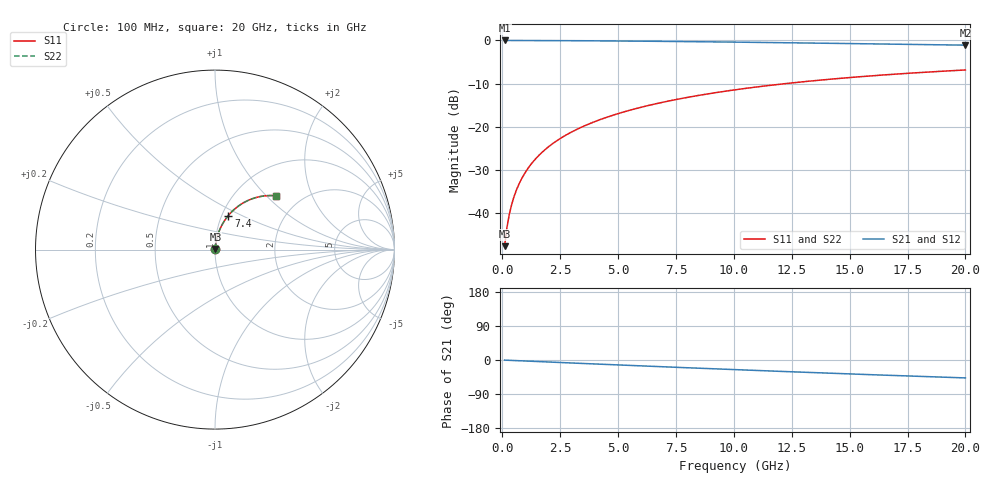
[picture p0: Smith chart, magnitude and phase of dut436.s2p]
! Touchstone file exported from HFSS 2026.1.0
!  File:  C:/ffzhzh/LocalFiles/Ansys_Project_Files/temp_train_TMRDL_436_1783005549_46388.aedt
!  Generated:  11:20:46 PM Jul  2, 2026
!  Design:  TMRDL
!  Project:  temp_train_TMRDL_436_1783005549_46388
! Variables:
!  h_bsmrdl = 2um
!  h_ox = 20um
!  h_rdl = 5um
!  h_sub = 80um
!  h_tmrdl = 5.28um
!  h_tsv = 80um
!  h_via = 3um
!  l_bsmrdl = 300um
!  l_sub = 1091.49um
!  l_tmrdl = 691.49um
!  m_sub = 200um
!  pitch = 50.07um
!  r_tsv = 6um
!  s_tmrdl = 10um
!  w_bsmrdl = 18um
!  w_sub = 500um
!  w_tmrdl = 17.92um
!  x_tsv_center1 = 700.45um
!  x_tsv_center2 = 1018.45um
!  x_tsv_center3 = 1727.86um
!  x_tsv_center4 = 2045.86um
!  x_tsv_center5 = 2755.27um
!  x_tsv_center6 = 3073.27um
# GHz S MA R 50.000000
! Terminal data exported
! Port[1] = TM_RDL1_1_T1
! Port[2] = TM_RDL1_1_T2
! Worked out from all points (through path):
!   200 points, 100 MHz to 20 GHz, reference 50 ohm
!   highest |S21| = -0.02 dB at 100 MHz (marker M1); lowest = -1.1 dB at 20 GHz (marker M2)
!   group delay of S21, straight-line fit = 6.57 ps
!   lowest |S11| = -47.7 dB at 100 MHz (marker M3), VSWR 1.01, Z = 50.3 + j0.311 ohm
!   |S11| at or under -10 dB: start of sweep to 12.27 GHz
!   |S22| runs from -47.7 to -6.9 dB; largest |S21 - S12| = 1.5e-14
!   S11 on the Smith chart (normalised r, x): 100 MHz: 1.01, +0.01; 7.4 GHz: 1.07, +0.42; 20 GHz: 1.51, +1.14
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0.1  0.004121 48.7  0.9973 -0.3  0.9973 -0.3  0.004121 48.7
! Gamma 0 0 0 0
! Port Impedance 50 0 50 0
0.2  0.006758 64.7  0.9972 -0.5  0.9972 -0.5  0.006758 64.7
0.3  0.00956 71.2  0.997 -0.8  0.997 -0.8  0.00956 71.2
0.4  0.0124 74.7  0.9969 -1.1  0.9969 -1.1  0.0124 74.7
0.5  0.01526 76.9  0.9968 -1.3  0.9968 -1.3  0.01526 76.9
0.7  0.02101 79.3  0.9966 -1.9  0.9966 -1.9  0.02101 79.3
0.8  0.0239 80.0  0.9965 -2.1  0.9965 -2.1  0.0239 80.0
1  0.02969 80.8  0.9962 -2.7  0.9962 -2.7  0.02969 80.8
1.2  0.03548 81.2  0.9959 -3.2  0.9959 -3.2  0.03548 81.2
1.4  0.04127 81.2  0.9956 -3.7  0.9956 -3.7  0.04127 81.2
1.7  0.04993 81.1  0.995 -4.5  0.995 -4.5  0.04993 81.1
2  0.05855 80.7  0.9943 -5.3  0.9943 -5.3  0.05855 80.7
2.7  0.07846 79.5  0.9923 -7.1  0.9923 -7.1  0.07846 79.5
3.5  0.1008 77.7  0.9896 -9.2  0.9896 -9.2  0.1008 77.7
4.2  0.12 76.1  0.9868 -11.0  0.9868 -11.0  0.12 76.1
5  0.1416 74.3  0.9833 -13.0  0.9833 -13.0  0.1416 74.3
6.8  0.1885 70.1  0.9742 -17.5  0.9742 -17.5  0.1885 70.1
7.4  0.2036 68.7  0.9708 -19.0  0.9708 -19.0  0.2036 68.7
10.1  0.2684 62.4  0.9538 -25.5  0.9538 -25.5  0.2684 62.4
13.4  0.3396 55.1  0.9301 -33.2  0.9301 -33.2  0.3396 55.1
16.7  0.4014 48.0  0.9049 -40.4  0.9049 -40.4  0.4013 48.0
20  0.4537 41.3  0.8798 -47.3  0.8798 -47.3  0.4537 41.3
